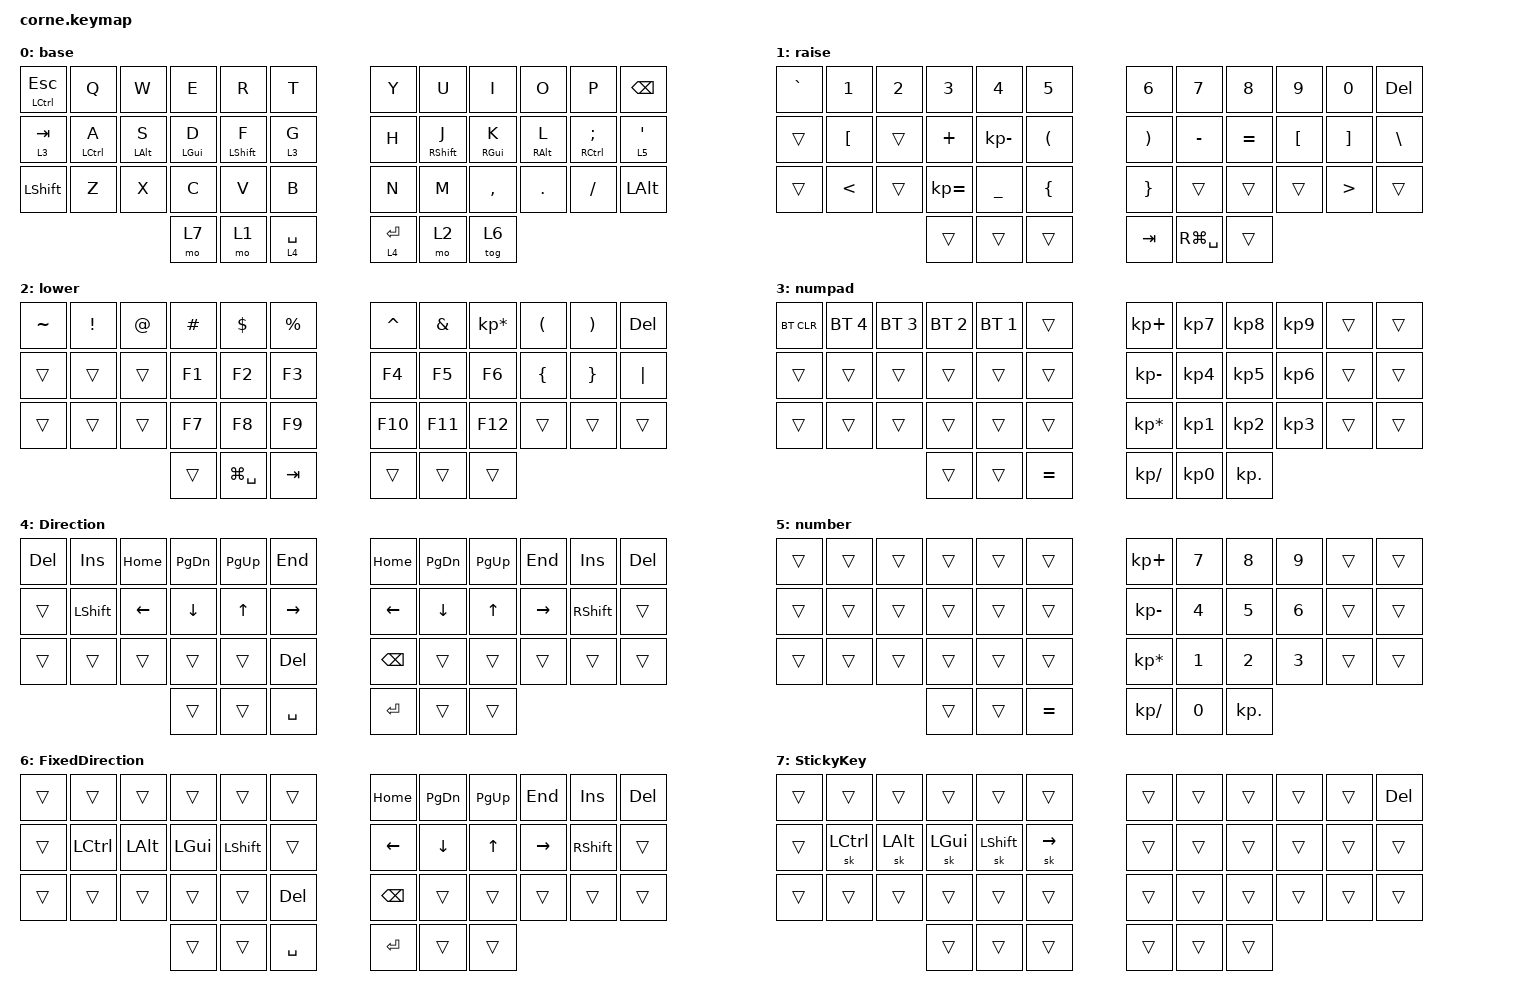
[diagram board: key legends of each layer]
/*
 * Copyright (c) 2020 The ZMK Contributors
 *
 * SPDX-License-Identifier: MIT
 */
/* THIS FILE WAS GENERATED!
 *
 * This file was generated automatically. You may or may not want to
 * edit it directly.
 */

#include <behaviors.dtsi>
#include <dt-bindings/zmk/keys.h>
#include <dt-bindings/zmk/bt.h>

/ {
    combos {
        compatible = "zmk,combos";

        tab {
            timeout-ms = <100>;
            bindings = <&kp TAB>;
            key-positions = <1 2>;
        };
    };

    macros {
        zed_em_kay: zed_em_kay {
            compatible = "zmk,behavior-macro";
            label = "ZM_zed_em_kay";
            #binding-cells = <0>;
            bindings =
                <&macro_press>,
                <&kp LSHFT>,
                <&macro_tap>,
                <&kp Z &kp M &kp K>,
                <&macro_release>,
                <&kp LSHFT>;
        };
    };
    
     behaviors {
        mh: homerow_mods {
            compatible = "zmk,behavior-hold-tap";
            label = "HOMEROW_MODS";
            #binding-cells = <2>;
            tapping-term-ms = <150>;
            quick-tap-ms = <0>;
            flavor = "tap-preferred";
            bindings = <&kp>, <&kp>;
        };
    };

    keymap {
        compatible = "zmk,keymap";

        base {
            bindings = <
   &mt LCTRL ESC    &kp Q       &kp W       &kp E         &kp R         &kp T            &kp Y         &kp U        &kp I       &kp O       &kp P                   &kp BACKSPACE
   &lt 3 TAB        &mh LCTRL A &mh LALT S  &mh LGUI D    &mh LSHIFT F  &lt 3 G          &kp H         &mh RSHIFT J &mh RGUI K  &mh RALT L  &mh RCTRL SEMICOLON     &lt 5 APOS
   &kp LSHIFT       &kp Z       &kp X       &kp C         &kp V         &kp B            &kp N         &kp M        &kp COMMA   &kp DOT     &kp FSLH                &kp LALT
                                            &mo 7         &mo 1         &lt 4 SPACE      &lt 4 RET     &mo 2        &tog 6
            >;
        };

        raise {
            bindings = <
 &kp GRAVE         &kp N1  &kp N2        &kp N3          &kp N4          &kp N5          &kp N6             &kp N7          &kp N8     &kp N9           &kp N0              &kp DELETE
    &trans       &kp LBKT  &trans      &kp PLUS    &kp KP_MINUS        &kp LPAR          &kp RPAR           &kp MINUS       &kp EQUAL  &kp LEFT_BRACKET &kp RIGHT_BRACKET   &kp BACKSLASH
    &trans  &kp LESS_THAN  &trans  &kp KP_EQUAL  &kp UNDERSCORE  &kp LEFT_BRACE          &kp RIGHT_BRACE    &trans          &trans     &trans           &kp GREATER_THAN    &trans
                                         &trans          &trans          &trans          &kp TAB            &kp RG(SPACE)   &trans
            >;
        };

        lower {
            bindings = <
    &kp TILDE   &kp EXCL    &kp AT      &kp HASH    &kp DLLR        &kp PRCNT           &kp CARET   &kp AMPS    &kp KP_MULTIPLY &kp LPAR        &kp RPAR        &kp DEL
    &trans      &trans      &trans      &kp F1      &kp F2          &kp F3              &kp F4      &kp F5      &kp F6          &kp LEFT_BRACE  &kp RIGHT_BRACE &kp PIPE
    &trans      &trans      &trans      &kp F7      &kp F8          &kp F9              &kp F10     &kp F11     &kp F12         &trans          &trans          &trans
                                        &trans      &kp LG(SPACE)   &kp TAB             &trans      &trans      &trans
            >;
        };

        numpad {
            bindings = <
 &bt BT_CLR  &bt BT_SEL 4  &bt BT_SEL 3  &bt BT_SEL 2  &bt BT_SEL 1     &trans         &kp KP_PLUS         &kp KP_N7        &kp KP_N8  &kp KP_N9  &trans  &trans
     &trans        &trans        &trans        &trans        &trans     &trans         &kp KP_MINUS        &kp KP_N4        &kp KP_N5  &kp KP_N6  &trans  &trans
     &trans        &trans        &trans        &trans        &trans     &trans         &kp KP_MULTIPLY     &kp KP_N1        &kp KP_N2  &kp KP_N3  &trans  &trans
                                               &trans        &trans     &kp EQUAL      &kp KP_SLASH        &kp KP_NUMBER_0  &kp KP_DOT
            >;
        };

        Direction {
            bindings = <
 &kp DELETE &kp INSERT  &kp HOME        &kp PAGE_DOWN   &kp PAGE_UP     &kp END             &kp HOME        &kp PAGE_DOWN   &kp PAGE_UP     &kp END         &kp INSERT  &kp DELETE
 &trans     &kp LSHIFT  &kp LEFT_ARROW  &kp DOWN_ARROW  &kp UP_ARROW    &kp RIGHT_ARROW     &kp LEFT_ARROW  &kp DOWN_ARROW  &kp UP_ARROW   &kp RIGHT_ARROW  &kp RSHIFT  &trans
 &trans     &trans      &trans          &trans          &trans          &kp DEL             &kp BACKSPACE   &trans          &trans          &trans          &trans      &trans
                                        &trans          &trans          &kp SPACE           &kp ENTER       &trans          &trans
            >;
        };
        
        number {
            bindings = <
     &trans        &trans        &trans        &trans        &trans     &trans         &kp KP_PLUS         &kp N7   &kp N8  &kp N9  &trans  &trans
     &trans        &trans        &trans        &trans        &trans     &trans         &kp KP_MINUS        &kp N4   &kp N5  &kp N6  &trans  &trans
     &trans        &trans        &trans        &trans        &trans     &trans         &kp KP_MULTIPLY     &kp N1   &kp N2  &kp N3  &trans  &trans
                                               &trans        &trans     &kp EQUAL      &kp KP_SLASH        &kp N0   &kp KP_DOT
            >;
        };
        
        FixedDirection {
            bindings = <
 &trans     &trans      &trans          &trans          &trans          &trans              &kp HOME        &kp PAGE_DOWN   &kp PAGE_UP     &kp END         &kp INSERT  &kp DELETE
 &trans     &kp LCTRL   &kp LALT        &kp LGUI        &kp LSHIFT      &trans              &kp LEFT_ARROW  &kp DOWN_ARROW  &kp UP_ARROW   &kp RIGHT_ARROW  &kp RSHIFT  &trans
 &trans     &trans      &trans          &trans          &trans          &kp DEL             &kp BACKSPACE   &trans          &trans          &trans          &trans      &trans
                                        &trans          &trans          &kp SPACE           &kp ENTER       &trans          &trans
                                        >;
        };
        
        StickyKey {
            bindings = <
 &trans     &trans      &trans          &trans          &trans          &trans              &trans          &trans          &trans          &trans          &trans &kp DELETE
 &trans     &sk LCTRL   &sk LALT        &sk LGUI        &sk LSHIFT      &sk RIGHT_ARROW     &trans          &trans          &trans          &trans          &trans  &trans
 &trans     &trans      &trans          &trans          &trans          &trans              &trans          &trans          &trans          &trans          &trans      &trans
                                        &trans          &trans          &trans              &trans          &trans          &trans
                                        >;
        };
    };
};
